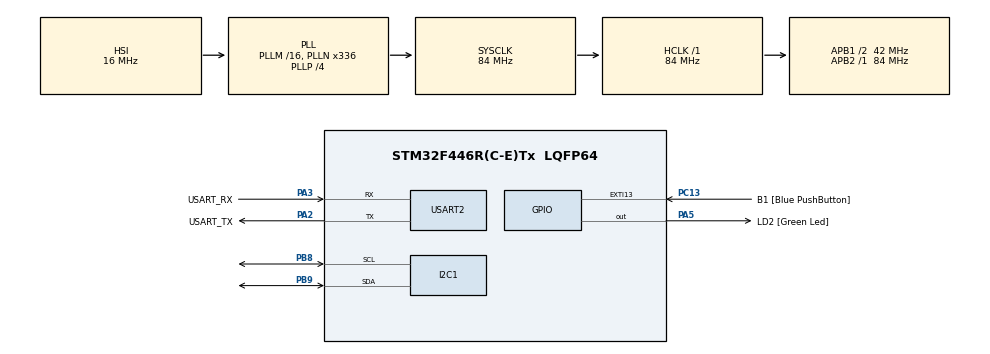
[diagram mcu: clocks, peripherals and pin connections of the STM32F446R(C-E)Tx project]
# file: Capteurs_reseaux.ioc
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Mcu.Family=STM32F4
Mcu.Name=STM32F446R(C-E)Tx
Mcu.Package=LQFP64
NVIC.PriorityGroup=NVIC_PRIORITYGROUP_0
PA13.GPIO_Label=TMS
PA13.Mode=Serial_Wire
PA13.Signal=SYS_JTMS-SWDIO
PA14.GPIO_Label=TCK
PA14.Mode=Serial_Wire
PA14.Signal=SYS_JTCK-SWCLK
PA2.GPIO_Label=USART_TX
PA2.Mode=Asynchronous
PA2.Signal=USART2_TX
PA3.GPIO_Label=USART_RX
PA3.Mode=Asynchronous
PA3.Signal=USART2_RX
PA5.GPIO_Label=LD2 [Green Led]
PA5.Signal=GPIO_Output
PB3.GPIO_Label=SWO
PB3.Signal=SYS_JTDO-SWO
PB8.Mode=I2C
PB8.Signal=I2C1_SCL
PB9.Mode=I2C
PB9.Signal=I2C1_SDA
PC13.GPIO_Label=B1 [Blue PushButton]
PC13.GPIO_ModeDefaultEXTI=GPIO_MODE_IT_FALLING
PC13.Signal=GPXTI13
PC14-OSC32_IN.Mode=LSE-External-Oscillator
PC14-OSC32_IN.Signal=RCC_OSC32_IN
PC15-OSC32_OUT.Mode=LSE-External-Oscillator
PC15-OSC32_OUT.Signal=RCC_OSC32_OUT
PH0-OSC_IN.Mode=HSE-External-Oscillator
PH0-OSC_IN.Signal=RCC_OSC_IN
PH1-OSC_OUT.Mode=HSE-External-Oscillator
PH1-OSC_OUT.Signal=RCC_OSC_OUT
ProjectManager.HeapSize=0x200
ProjectManager.StackSize=0x400
ProjectManager.TargetToolchain=STM32CubeIDE
RCC.48MHZClocksFreq_Value=84000000
RCC.AHBFreq_Value=84000000
RCC.APB1CLKDivider=RCC_HCLK_DIV2
RCC.APB1Freq_Value=42000000
RCC.APB1TimFreq_Value=84000000
RCC.APB2Freq_Value=84000000
RCC.APB2TimFreq_Value=84000000
RCC.CortexFreq_Value=84000000
RCC.FLatency-AdvancedSettings=FLASH_LATENCY_2
RCC.HCLKFreq_Value=84000000
RCC.HSE_VALUE=8000000
RCC.HSI_VALUE=16000000
RCC.PLLN=336
RCC.PLLP=RCC_PLLP_DIV4
RCC.SYSCLKFreq_VALUE=84000000
RCC.SYSCLKSource=RCC_SYSCLKSOURCE_PLLCLK
RCC.USBFreq_Value=168000000
RCC.VCOOutputFreq_Value=336000000
USART2.VirtualMode=VM_ASYNC
board=NUCLEO-F446RE

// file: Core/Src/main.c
/* USER CODE BEGIN Header */
/**
  ******************************************************************************
  * @file           : main.c
  * @brief          : Main program body
  ******************************************************************************
  * @attention
  *
  * Copyright (c) 2022 STMicroelectronics.
  * All rights reserved.
  *
  * This software is licensed under terms that can be found in the LICENSE file
  * in the root directory of this software component.
  * If no LICENSE file comes with this software, it is provided AS-IS.
  *
  ******************************************************************************
  */
/* USER CODE END Header */
#include "main.h"
#include "i2c.h"
#include "usart.h"
#include "gpio.h"
#include <stdio.h>
#include "conv_bmp280.h"

void SystemClock_Config(void);

/* USER CODE BEGIN 0 */

int __io_putchar(int ch)
{
	HAL_UART_Transmit(&huart2, (uint8_t *)&ch, 1, 0xFFFF);
	return ch;
}

#define Slave_Add_BMP280 0b1110111
#define ctrl_meas 0xF4
#define status 0xF3
#define ID 0xD0
#define temp_msb 0xFA		//!< 1 octet
#define temp_lsb 0xFB		//!< 1 octet
#define temp_xlsb 0xFC		//!< 4bits
#define timeout 50
#define calib_data

/* USER CODE END 0 */

int main(void)
{

  /* MCU Configuration--------------------------------------------------------*/

  /* Reset of all peripherals, Initializes the Flash interface and the Systick. */
  HAL_Init();

  /* Configure the system clock */
  SystemClock_Config();

  /* Initialize all configured peripherals */
  MX_GPIO_Init();
  MX_USART2_UART_Init();
  MX_I2C1_Init();
  /* USER CODE BEGIN 2 */
  HAL_I2C_Init(&hi2c1);
  uint8_t pData = 0b01010111; 				//!< "010" temp x2 sample "101" pres x16 sample "11" normal mode
  uint8_t Ident = 0;
  uint8_t cal_data[24] = {0};
  uint8_t adata1 = 0;
  uint8_t adata2 = 0;
  uint8_t adata3 = 0;
  if(HAL_OK != HAL_I2C_Mem_Read(&hi2c1, Slave_Add_BMP280 << 1, ID, 1, &Ident, sizeof(Ident), timeout)){
  	  printf("Error_ID\r\n");
    }
  printf("ID: %d\r\n",Ident);

  if(HAL_OK != HAL_I2C_Mem_Write(&hi2c1, Slave_Add_BMP280 << 1, ctrl_meas, 1, &pData, sizeof(pData), timeout)){
	  printf("Error_ctrl_meas\r\n");
  }
  else {
	  printf("All good, nothing to notice about ctrl_meas\r\n");
  }

  if(HAL_OK != HAL_I2C_Mem_Read(&hi2c1, Slave_Add_BMP280 << 1, cal_data, 2, &cal_data, sizeof(cal_data), timeout)){
   	  printf("Error Calibration transmission\r\n");
   	  HAL_Delay(2000);
     }
  else {
	  printf("All good, nothing to notice about calibration\r\n");
  }

  /* USER CODE END 2 */

  /* Infinite loop */
  /* USER CODE BEGIN WHILE */
  while (1)
  {
	  HAL_I2C_Mem_Read(&hi2c1, Slave_Add_BMP280 << 1, temp_msb, 1, &adata1, 1, timeout);
	  HAL_I2C_Mem_Read(&hi2c1, Slave_Add_BMP280 << 1, temp_lsb, 1, &adata2, 1, timeout);
	  HAL_I2C_Mem_Read(&hi2c1, Slave_Add_BMP280 << 1, temp_xlsb, 1, &adata3, 1, timeout);

	  HAL_Delay(100);
	  printf("data 0 :%d\r\n",adata1);
	  printf("data 1 :%d\r\n",adata2);
	  printf("data 2 :%d\r\n",adata3);
	  HAL_Delay(100);

    /* USER CODE END WHILE */

  }
}

void SystemClock_Config(void)
{
  RCC_OscInitTypeDef RCC_OscInitStruct = {0};
  RCC_ClkInitTypeDef RCC_ClkInitStruct = {0};

  /** Configure the main internal regulator output voltage
  */
  __HAL_RCC_PWR_CLK_ENABLE();
  __HAL_PWR_VOLTAGESCALING_CONFIG(PWR_REGULATOR_VOLTAGE_SCALE3);

  /** Initializes the RCC Oscillators according to the specified parameters
  * in the RCC_OscInitTypeDef structure.
  */
  RCC_OscInitStruct.OscillatorType = RCC_OSCILLATORTYPE_HSI;
  RCC_OscInitStruct.HSIState = RCC_HSI_ON;
  RCC_OscInitStruct.HSICalibrationValue = RCC_HSICALIBRATION_DEFAULT;
  RCC_OscInitStruct.PLL.PLLState = RCC_PLL_ON;
  RCC_OscInitStruct.PLL.PLLSource = RCC_PLLSOURCE_HSI;
  RCC_OscInitStruct.PLL.PLLM = 16;
  RCC_OscInitStruct.PLL.PLLN = 336;
  RCC_OscInitStruct.PLL.PLLP = RCC_PLLP_DIV4;
  RCC_OscInitStruct.PLL.PLLQ = 2;
  RCC_OscInitStruct.PLL.PLLR = 2;
  if (HAL_RCC_OscConfig(&RCC_OscInitStruct) != HAL_OK)
  {
    Error_Handler();
  }

  /** Initializes the CPU, AHB and APB buses clocks
  */
  RCC_ClkInitStruct.ClockType = RCC_CLOCKTYPE_HCLK|RCC_CLOCKTYPE_SYSCLK
                              |RCC_CLOCKTYPE_PCLK1|RCC_CLOCKTYPE_PCLK2;
  RCC_ClkInitStruct.SYSCLKSource = RCC_SYSCLKSOURCE_PLLCLK;
  RCC_ClkInitStruct.AHBCLKDivider = RCC_SYSCLK_DIV1;
  RCC_ClkInitStruct.APB1CLKDivider = RCC_HCLK_DIV2;
  RCC_ClkInitStruct.APB2CLKDivider = RCC_HCLK_DIV1;

  if (HAL_RCC_ClockConfig(&RCC_ClkInitStruct, FLASH_LATENCY_2) != HAL_OK)
  {
    Error_Handler();
  }
}

void Error_Handler(void)
{
  __disable_irq();
  while (1)
  {
  }
}
